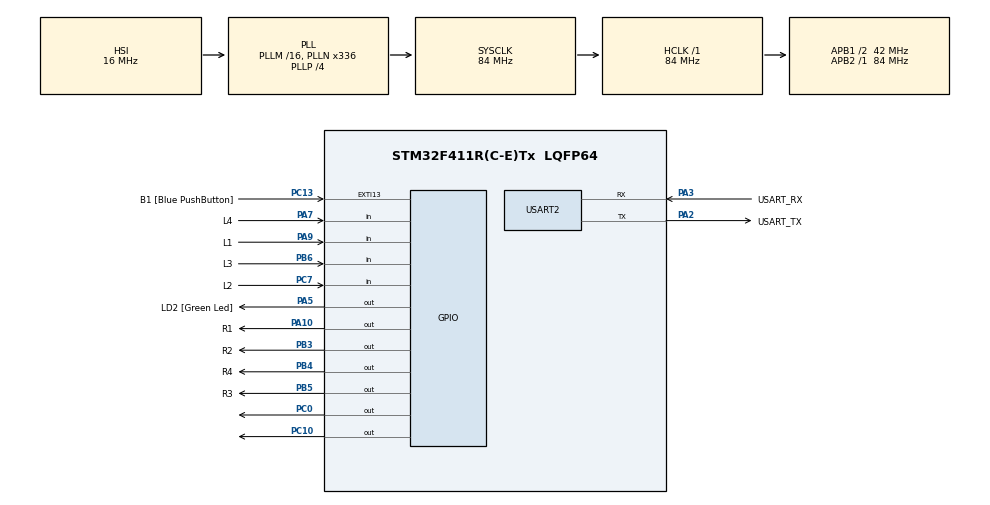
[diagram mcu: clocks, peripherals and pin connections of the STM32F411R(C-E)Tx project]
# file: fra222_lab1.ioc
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Mcu.Family=STM32F4
Mcu.Name=STM32F411R(C-E)Tx
Mcu.Package=LQFP64
NVIC.PriorityGroup=NVIC_PRIORITYGROUP_0
PA10.GPIO_Label=R1
PA10.PinState=GPIO_PIN_SET
PA10.Signal=GPIO_Output
PA13.GPIO_Label=TMS
PA13.Mode=Serial_Wire
PA13.Signal=SYS_JTMS-SWDIO
PA14.GPIO_Label=TCK
PA14.Mode=Serial_Wire
PA14.Signal=SYS_JTCK-SWCLK
PA2.GPIO_Label=USART_TX
PA2.Mode=Asynchronous
PA2.Signal=USART2_TX
PA3.GPIO_Label=USART_RX
PA3.Mode=Asynchronous
PA3.Signal=USART2_RX
PA5.GPIO_Label=LD2 [Green Led]
PA5.Signal=GPIO_Output
PA7.GPIO_Label=L4
PA7.GPIO_PuPd=GPIO_PULLUP
PA7.Signal=GPIO_Input
PA9.GPIO_Label=L1
PA9.GPIO_PuPd=GPIO_PULLUP
PA9.Signal=GPIO_Input
PB3.GPIO_Label=R2
PB3.GPIO_Speed=GPIO_SPEED_FREQ_LOW
PB3.PinState=GPIO_PIN_SET
PB3.Signal=GPIO_Output
PB4.GPIO_Label=R4
PB4.PinState=GPIO_PIN_SET
PB4.Signal=GPIO_Output
PB5.GPIO_Label=R3
PB5.PinState=GPIO_PIN_SET
PB5.Signal=GPIO_Output
PB6.GPIO_Label=L3
PB6.GPIO_PuPd=GPIO_PULLUP
PB6.Signal=GPIO_Input
PC0.Signal=GPIO_Output
PC10.Signal=GPIO_Output
PC13-ANTI_TAMP.GPIO_Label=B1 [Blue PushButton]
PC13-ANTI_TAMP.GPIO_ModeDefaultEXTI=GPIO_MODE_IT_FALLING
PC13-ANTI_TAMP.Signal=GPXTI13
PC14-OSC32_IN.Mode=LSE-External-Oscillator
PC14-OSC32_IN.Signal=RCC_OSC32_IN
PC15-OSC32_OUT.Mode=LSE-External-Oscillator
PC15-OSC32_OUT.Signal=RCC_OSC32_OUT
PC7.GPIO_Label=L2
PC7.GPIO_PuPd=GPIO_PULLUP
PC7.Signal=GPIO_Input
PH0\ -\ OSC_IN.Mode=HSE-External-Clock-Source
PH0\ -\ OSC_IN.Signal=RCC_OSC_IN
PH1\ -\ OSC_OUT.Mode=HSE-External-Clock-Source
PH1\ -\ OSC_OUT.Signal=RCC_OSC_OUT
ProjectManager.HeapSize=0x200
ProjectManager.StackSize=0x400
ProjectManager.TargetToolchain=STM32CubeIDE
RCC.48MHZClocksFreq_Value=84000000
RCC.AHBFreq_Value=84000000
RCC.APB1CLKDivider=RCC_HCLK_DIV2
RCC.APB1Freq_Value=42000000
RCC.APB1TimFreq_Value=84000000
RCC.APB2Freq_Value=84000000
RCC.APB2TimFreq_Value=84000000
RCC.CortexFreq_Value=84000000
RCC.FLatency-AdvancedSettings=FLASH_LATENCY_2
RCC.HCLKFreq_Value=84000000
RCC.HSE_VALUE=8000000
RCC.HSI_VALUE=16000000
RCC.PLLN=336
RCC.PLLP=RCC_PLLP_DIV4
RCC.SYSCLKFreq_VALUE=84000000
RCC.SYSCLKSource=RCC_SYSCLKSOURCE_PLLCLK
RCC.VCOOutputFreq_Value=336000000
USART2.VirtualMode=VM_ASYNC
board=NUCLEO-F411RE

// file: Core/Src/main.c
/* USER CODE BEGIN Header */
/**
  ******************************************************************************
  * @file           : main.c
  * @brief          : Main program body
  ******************************************************************************
  * @attention
  *
  * Copyright (c) 2023 STMicroelectronics.
  * All rights reserved.
  *
  * This software is licensed under terms that can be found in the LICENSE file
  * in the root directory of this software component.
  * If no LICENSE file comes with this software, it is provided AS-IS.
  *
  ******************************************************************************
  */
/* USER CODE END Header */
#include "main.h"

UART_HandleTypeDef huart2;

/* USER CODE BEGIN PV */
//create Structure of PortPin ,Typedef it to type name PortPin
typedef struct _PortPin
{
	GPIO_TypeDef* PORT;
	uint16_t PIN;
} PortPin;

//declare PortPin R,L
PortPin R[4] =
{
		{GPIOA,GPIO_PIN_10},
		{GPIOB,GPIO_PIN_3},
		{GPIOB,GPIO_PIN_5},
		{GPIOB,GPIO_PIN_4}
};

PortPin L[4] =
{
		{GPIOA,GPIO_PIN_9},
		{GPIOC,GPIO_PIN_7},
		{GPIOB,GPIO_PIN_6},
		{GPIOA,GPIO_PIN_7}
};

//For Button Contenter
uint16_t ButtonMatrix=0;
uint32_t Sum = 0;
uint32_t LastButton = 0;
uint32_t cs = 0;//check sequent
uint32_t count = 0 ;//count digit

/* USER CODE END PV */

void SystemClock_Config(void);
static void MX_GPIO_Init(void);
static void MX_USART2_UART_Init(void);

int main(void)
{

  /* MCU Configuration--------------------------------------------------------*/

  /* Reset of all peripherals, Initializes the Flash interface and the Systick. */
  HAL_Init();

  /* Configure the system clock */
  SystemClock_Config();

  /* Initialize all configured peripherals */
  MX_GPIO_Init();
  MX_USART2_UART_Init();

  /* Infinite loop */
  while (1)
  {

    /* USER CODE BEGIN 3 */
	  //Call function every 10 ms = 100Hz
	  	  static uint32_t timestamp=0;
	  	  if(HAL_GetTick()>=timestamp)
	  	  {
	  		  timestamp =HAL_GetTick() + 10;
	  		  ReadMatrixButton_1Row();
	  		if (LastButton == 0 && ButtonMatrix > 0)
	  					{
	  						if (ButtonMatrix == 8) // 0
	  						{
	  							Sum += 8;
	  							count += 1;
	  						}

	  						else if (ButtonMatrix == 4) // 1
	  						{
	  							Sum += 4;
	  							count += 1;
	  						}

	  						else if (ButtonMatrix == 64) // 2
	  						{
	  							Sum += 64;
	  							count += 1;
	  						}

	  						else if (ButtonMatrix == 1024) // 3
	  						{
	  							Sum += 1024;
	  							count += 1;
	  						}

	  						else if (ButtonMatrix == 2) // 4
	  						{
	  							Sum += 2;
	  							count += 1;
	  							if(Sum == 514){
	  								cs += 1;
	  							}
	  							if(Sum == 1540){
	  								cs += 1;
	  							}
	  						}

	  						else if (ButtonMatrix == 32) // 5
	  						{
	  							Sum += 32;
	  							count += 1;
	  							if(Sum == 1580){
	  								cs += 1;
	  							}
	  						}

	  						else if (ButtonMatrix == 512) // 6
	  						{

	  							Sum += 512;
	  							count += 1;
	  							if (Sum == 512){
	  								cs += 1;
	  							}

	  						}

	  						else if (ButtonMatrix == 1) // 7
	  						{
	  							Sum += 1;
	  							count += 1;
	  						}

	  						else if (ButtonMatrix == 16 ) // 8
	  						{
	  							Sum += 16;
	  							count += 1;
	  						}

	  						else if (ButtonMatrix == 256) // 9
	  						{
	  							Sum += 256;
	  							count += 1;
	  						}

	  						//LastButton = Button ;

	  						if (ButtonMatrix == 4096) // clear
	  							{
	  							HAL_GPIO_WritePin(GPIOA, GPIO_PIN_5, RESET); // LED OFF
	  							Sum = 0;
	  							cs = 0;
	  							count =0;
	  							}

	  						if ((ButtonMatrix == 32768) && (Sum == 1622)&&(cs == 4)&&(count == 11))
	  							{
	  							HAL_GPIO_WritePin(GPIOA, GPIO_PIN_5, SET); // LED ON
	  							}
	  					}

	  					LastButton = ButtonMatrix;

	  	  }
	 }
  /* USER CODE END 3 */
}

void SystemClock_Config(void)
{
  RCC_OscInitTypeDef RCC_OscInitStruct = {0};
  RCC_ClkInitTypeDef RCC_ClkInitStruct = {0};

  /** Configure the main internal regulator output voltage
  */
  __HAL_RCC_PWR_CLK_ENABLE();
  __HAL_PWR_VOLTAGESCALING_CONFIG(PWR_REGULATOR_VOLTAGE_SCALE1);

  /** Initializes the RCC Oscillators according to the specified parameters
  * in the RCC_OscInitTypeDef structure.
  */
  RCC_OscInitStruct.OscillatorType = RCC_OSCILLATORTYPE_HSI;
  RCC_OscInitStruct.HSIState = RCC_HSI_ON;
  RCC_OscInitStruct.HSICalibrationValue = RCC_HSICALIBRATION_DEFAULT;
  RCC_OscInitStruct.PLL.PLLState = RCC_PLL_ON;
  RCC_OscInitStruct.PLL.PLLSource = RCC_PLLSOURCE_HSI;
  RCC_OscInitStruct.PLL.PLLM = 16;
  RCC_OscInitStruct.PLL.PLLN = 336;
  RCC_OscInitStruct.PLL.PLLP = RCC_PLLP_DIV4;
  RCC_OscInitStruct.PLL.PLLQ = 4;
  if (HAL_RCC_OscConfig(&RCC_OscInitStruct) != HAL_OK)
  {
    Error_Handler();
  }

  /** Initializes the CPU, AHB and APB buses clocks
  */
  RCC_ClkInitStruct.ClockType = RCC_CLOCKTYPE_HCLK|RCC_CLOCKTYPE_SYSCLK
                              |RCC_CLOCKTYPE_PCLK1|RCC_CLOCKTYPE_PCLK2;
  RCC_ClkInitStruct.SYSCLKSource = RCC_SYSCLKSOURCE_PLLCLK;
  RCC_ClkInitStruct.AHBCLKDivider = RCC_SYSCLK_DIV1;
  RCC_ClkInitStruct.APB1CLKDivider = RCC_HCLK_DIV2;
  RCC_ClkInitStruct.APB2CLKDivider = RCC_HCLK_DIV1;

  if (HAL_RCC_ClockConfig(&RCC_ClkInitStruct, FLASH_LATENCY_2) != HAL_OK)
  {
    Error_Handler();
  }
}

static void MX_USART2_UART_Init(void)
{

  huart2.Instance = USART2;
  huart2.Init.BaudRate = 115200;
  huart2.Init.WordLength = UART_WORDLENGTH_8B;
  huart2.Init.StopBits = UART_STOPBITS_1;
  huart2.Init.Parity = UART_PARITY_NONE;
  huart2.Init.Mode = UART_MODE_TX_RX;
  huart2.Init.HwFlowCtl = UART_HWCONTROL_NONE;
  huart2.Init.OverSampling = UART_OVERSAMPLING_16;
  if (HAL_UART_Init(&huart2) != HAL_OK)
  {
    Error_Handler();
  }

}

static void MX_GPIO_Init(void)
{
  GPIO_InitTypeDef GPIO_InitStruct = {0};

  /* GPIO Ports Clock Enable */
  __HAL_RCC_GPIOC_CLK_ENABLE();
  __HAL_RCC_GPIOH_CLK_ENABLE();
  __HAL_RCC_GPIOA_CLK_ENABLE();
  __HAL_RCC_GPIOB_CLK_ENABLE();

  /*Configure GPIO pin Output Level */
  HAL_GPIO_WritePin(GPIOC, GPIO_PIN_0|GPIO_PIN_10, GPIO_PIN_RESET);

  /*Configure GPIO pin Output Level */
  HAL_GPIO_WritePin(LD2_GPIO_Port, LD2_Pin, GPIO_PIN_RESET);

  /*Configure GPIO pin Output Level */
  HAL_GPIO_WritePin(R1_GPIO_Port, R1_Pin, GPIO_PIN_SET);

  /*Configure GPIO pin Output Level */
  HAL_GPIO_WritePin(GPIOB, R2_Pin|R4_Pin|R3_Pin, GPIO_PIN_SET);

  /*Configure GPIO pin : B1_Pin */
  GPIO_InitStruct.Pin = B1_Pin;
  GPIO_InitStruct.Mode = GPIO_MODE_IT_FALLING;
  GPIO_InitStruct.Pull = GPIO_NOPULL;
  HAL_GPIO_Init(B1_GPIO_Port, &GPIO_InitStruct);

  /*Configure GPIO pins : PC0 PC10 */
  GPIO_InitStruct.Pin = GPIO_PIN_0|GPIO_PIN_10;
  GPIO_InitStruct.Mode = GPIO_MODE_OUTPUT_PP;
  GPIO_InitStruct.Pull = GPIO_NOPULL;
  GPIO_InitStruct.Speed = GPIO_SPEED_FREQ_LOW;
  HAL_GPIO_Init(GPIOC, &GPIO_InitStruct);

  /*Configure GPIO pins : LD2_Pin R1_Pin */
  GPIO_InitStruct.Pin = LD2_Pin|R1_Pin;
  GPIO_InitStruct.Mode = GPIO_MODE_OUTPUT_PP;
  GPIO_InitStruct.Pull = GPIO_NOPULL;
  GPIO_InitStruct.Speed = GPIO_SPEED_FREQ_LOW;
  HAL_GPIO_Init(GPIOA, &GPIO_InitStruct);

  /*Configure GPIO pins : L4_Pin L1_Pin */
  GPIO_InitStruct.Pin = L4_Pin|L1_Pin;
  GPIO_InitStruct.Mode = GPIO_MODE_INPUT;
  GPIO_InitStruct.Pull = GPIO_PULLUP;
  HAL_GPIO_Init(GPIOA, &GPIO_InitStruct);

  /*Configure GPIO pin : L2_Pin */
  GPIO_InitStruct.Pin = L2_Pin;
  GPIO_InitStruct.Mode = GPIO_MODE_INPUT;
  GPIO_InitStruct.Pull = GPIO_PULLUP;
  HAL_GPIO_Init(L2_GPIO_Port, &GPIO_InitStruct);

  /*Configure GPIO pins : R2_Pin R4_Pin R3_Pin */
  GPIO_InitStruct.Pin = R2_Pin|R4_Pin|R3_Pin;
  GPIO_InitStruct.Mode = GPIO_MODE_OUTPUT_PP;
  GPIO_InitStruct.Pull = GPIO_NOPULL;
  GPIO_InitStruct.Speed = GPIO_SPEED_FREQ_LOW;
  HAL_GPIO_Init(GPIOB, &GPIO_InitStruct);

  /*Configure GPIO pin : L3_Pin */
  GPIO_InitStruct.Pin = L3_Pin;
  GPIO_InitStruct.Mode = GPIO_MODE_INPUT;
  GPIO_InitStruct.Pull = GPIO_PULLUP;
  HAL_GPIO_Init(L3_GPIO_Port, &GPIO_InitStruct);

}

/* USER CODE BEGIN 4 */
void ReadMatrixButton_1Row()
{
	//
	static uint8_t X = 0;

	//READ L1-L4
	register int i;
	for(i=0;i<4;i++)
	{
		if(HAL_GPIO_ReadPin(L[i].PORT, L[i].PIN))
		{
			ButtonMatrix &= ~(1<<(X*4+i));

		}
		else
		{
			ButtonMatrix |= 1<<(X*4+i);

		}

	}
	//SET RX
	HAL_GPIO_WritePin(R[X].PORT, R[X].PIN, 1);
	//RESET RX+1%4
	HAL_GPIO_WritePin(R[(X+1)%4].PORT, R[(X+1)%4].PIN, 0);
	X++;
	X%=4;
}
/* USER CODE END 4 */

void Error_Handler(void)
{
  __disable_irq();
  while (1)
  {
  }
}
